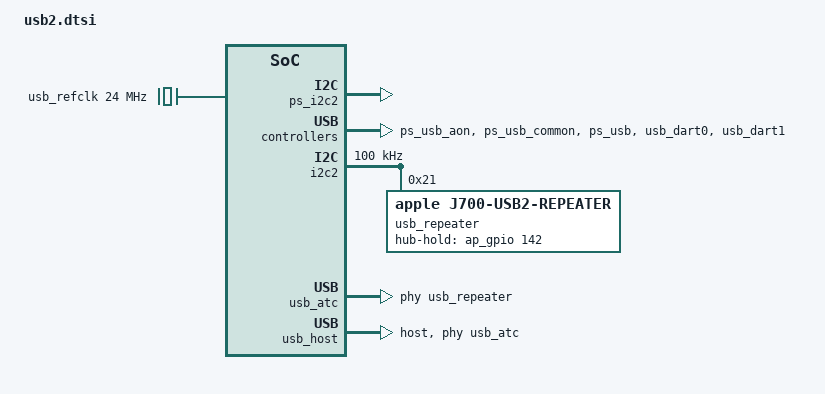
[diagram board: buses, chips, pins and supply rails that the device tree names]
/* SPDX-License-Identifier: GPL-2.0+ OR MIT */
/* J700 retained-power, preattached USB2 test. HPM/debug routing remains unbound. */
#include <dt-bindings/phy/phy.h>
#include <dt-bindings/pinctrl/apple.h>

/ {
	usb_refclk: usb-refclk {
		compatible = "fixed-clock";
		#clock-cells = <0>;
		clock-frequency = <24000000>;
	};
};

&{/soc} {
	usb_pmgr: power-management@300700000 {
		compatible = "apple,t8140-pmgr", "apple,t8103-pmgr", "syscon", "simple-mfd";
		reg = <3 0x00700000 0 0x14000>;
		#address-cells = <1>;
		#size-cells = <1>;

		ps_gpio: power-controller@120 {
			compatible = "apple,t8140-pmgr-pwrstate", "apple,t8103-pmgr-pwrstate";
			reg = <0x120 4>;
			#power-domain-cells = <0>;
			#reset-cells = <0>;
			label = "gpio";
		};
		ps_i2c2: power-controller@2d8 {
			compatible = "apple,t8140-pmgr-pwrstate", "apple,t8103-pmgr-pwrstate";
			reg = <0x2d8 4>;
			#power-domain-cells = <0>;
			#reset-cells = <0>;
			label = "i2c2";
		};
		ps_usb_aon: power-controller@3e0 {
			compatible = "apple,t8140-pmgr-pwrstate", "apple,t8103-pmgr-pwrstate";
			reg = <0x3e0 4>;
			#power-domain-cells = <0>;
			#reset-cells = <0>;
			label = "atc0_usb_aon";
		};
		ps_usb_common: power-controller@3e8 {
			compatible = "apple,t8140-pmgr-pwrstate", "apple,t8103-pmgr-pwrstate";
			reg = <0x3e8 4>;
			#power-domain-cells = <0>;
			#reset-cells = <0>;
			label = "atc0_common";
			power-domains = <&ps_usb_aon>;
		};
		ps_usb: power-controller@3f0 {
			compatible = "apple,t8140-pmgr-pwrstate", "apple,t8103-pmgr-pwrstate";
			reg = <0x3f0 4>;
			#power-domain-cells = <0>;
			#reset-cells = <0>;
			label = "atc0_usb";
			power-domains = <&ps_usb_common>;
		};
	};

	ap_gpio: pinctrl@31a000000 {
		compatible = "apple,t8140-pinctrl", "apple,t8103-pinctrl";
		reg = <3 0x1a000000 0 0x100000>;
		power-domains = <&ps_gpio>;
		gpio-controller;
		#gpio-cells = <2>;
		gpio-ranges = <&ap_gpio 0 0 216>;
		gpio-reserved-ranges = <50 1>, <134 1>;
		apple,npins = <216>;
		apple,no-regcache;
		i2c2_pins: i2c2-pins {
			pinmux = <APPLE_PINMUX(165, 1)>, <APPLE_PINMUX(164, 1)>;
		};
	};

	i2c2: i2c@385018000 {
		compatible = "apple,t8140-i2c", "apple,i2c";
		reg = <3 0x85018000 0 0x4000>;
		interrupt-parent = <&aic>;
		interrupts = <AIC_IRQ 1110 IRQ_TYPE_LEVEL_HIGH>;
		power-domains = <&ps_i2c2>;
		clocks = <&usb_refclk>;
		clock-frequency = <100000>;
		pinctrl-names = "default";
		pinctrl-0 = <&i2c2_pins>;
		#address-cells = <1>;
		#size-cells = <0>;
		usb_repeater: repeater@21 {
			compatible = "apple,j700-usb2-repeater";
			reg = <0x21>;
			#phy-cells = <0>;
			hub-hold-gpios = <&ap_gpio 142 GPIO_ACTIVE_HIGH>;
		};
	};

	usb_atc: phy@40b000000 {
		compatible = "apple,t8130-atcphy", "apple,t8122-atcphy";
		reg = <4 0x0b000000 0 0x4c000>, <4 0x0b050000 0 0x4000>,
		      <4 0x08000000 0 0x8000>, <4 0x0aa90000 0 0x4000>,
		      <4 0x0aa84000 0 0x4000>, <4 0x0a300000 0 0x4000>;
		reg-names = "core", "lpdptx", "axi2af", "usb2phy", "pipehandler", "usb2phy-reg";
		power-domains = <&ps_usb>;
		#phy-cells = <1>;
		#reset-cells = <0>;
		phys = <&usb_repeater>;
		phy-names = "usb2-repeater";
		apple,usb2-fixed-host;
		apple,tunable-usb2phy-reg-dflt = <0x80 0xff 0x17>, <0x84 0x3ff 0xc8>,
			<0x88 0xff 5>, <0x8c 0x3ff 5>;
	};

	usb_dart0: iommu@40af00000 {
		compatible = "apple,t8140-dart", "apple,t8110-dart";
		reg = <4 0x0af00000 0 0xc000>;
		interrupt-parent = <&aic>;
		interrupts = <AIC_IRQ 1248 IRQ_TYPE_LEVEL_HIGH>;
		power-domains = <&ps_usb>;
		#iommu-cells = <1>;
		apple,dma-range = <0x100 0x4000 0 0xffff0000>;
	};
	usb_dart1: iommu@40af80000 {
		compatible = "apple,t8140-dart", "apple,t8110-dart";
		reg = <4 0x0af80000 0 0xc000>;
		interrupt-parent = <&aic>;
		interrupts = <AIC_IRQ 1248 IRQ_TYPE_LEVEL_HIGH>;
		power-domains = <&ps_usb>;
		#iommu-cells = <1>;
		apple,dma-range = <0x100 0x4000 0 0xffff0000>;
	};
	usb_host: usb@40a280000 {
		compatible = "apple,t8140-dwc3", "apple,t8103-dwc3";
		reg = <4 0x0a280000 0 0xcd00>, <4 0x0a28cd00 0 0x3200>;
		reg-names = "dwc3-core", "dwc3-apple";
		interrupt-parent = <&aic>;
		interrupts = <AIC_IRQ 1244 IRQ_TYPE_LEVEL_HIGH>;
		power-domains = <&ps_usb>;
		iommus = <&usb_dart0 0>, <&usb_dart1 1>;
		resets = <&usb_atc>;
		phys = <&usb_atc PHY_TYPE_USB2>, <&usb_atc PHY_TYPE_USB3>;
		phy-names = "usb2-phy", "usb3-phy";
		dr_mode = "host";
		maximum-speed = "high-speed";
		apple,usb2-fixed-host;
	};
};

#ifdef NEO_USB2_FRONT
#include "usb2-front.dtsi"
#endif
